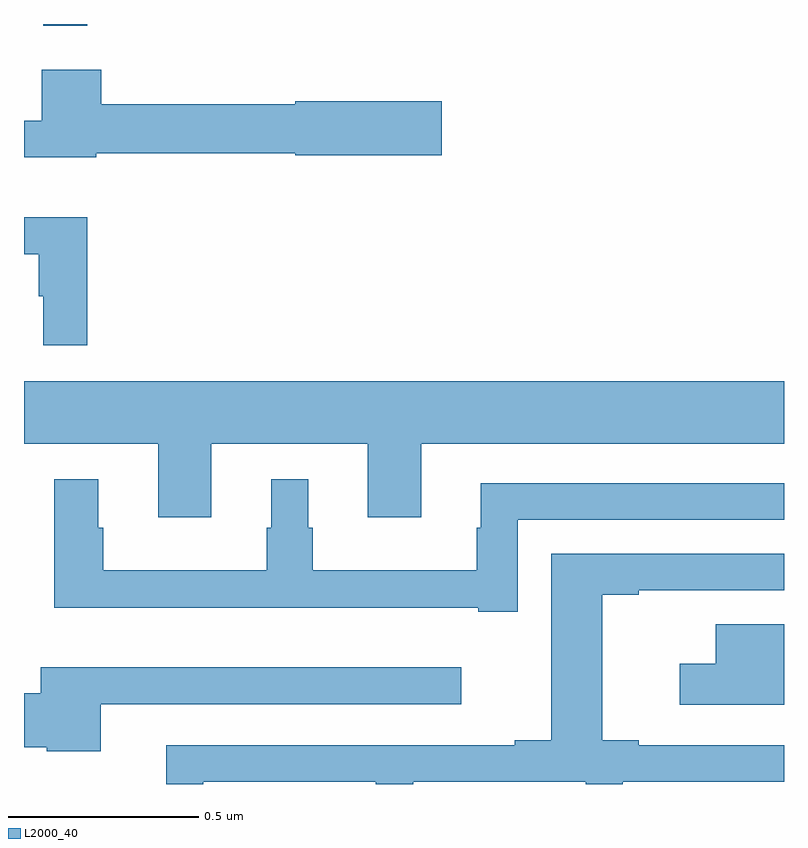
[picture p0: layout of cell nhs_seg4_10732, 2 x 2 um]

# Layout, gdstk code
import gdstk
lib = gdstk.Library(unit=1e-6, precision=1e-09)
def R(c, l, rs):  # rectangles x0, y0, x1, y1
    for r in rs: c.add(gdstk.rectangle(r[:2], r[2:], *l))
def P(c, l, *ps):  # polygons
    for p in ps: c.add(gdstk.Polygon(p, *l))
L2000_40 = (2000, 40)

nhs_seg4_10732 = lib.new_cell('nhs_seg4_10732')
R(nhs_seg4_10732, L2000_40, [(243.05,821.895,243.167,821.9)])
P(nhs_seg4_10732, L2000_40, [(243.19,821.56),(243.714,821.56),(243.714,821.555),(244.099,821.555),(244.099,821.697),(243.714,821.697),(243.714,821.689),(243.203,821.689),(243.203,821.779),(243.047,821.779),(243.047,821.646),(243,821.646),(243,821.549),(243.19,821.549)],
  [(243.167,821.392),(243,821.392),(243,821.294),(243.039,821.294),(243.039,821.183),(243.05,821.183),(243.05,821.055),(243.167,821.055)],
  [(243.493,820.796),(243.905,820.796),(243.905,820.602),(244.045,820.602),(244.045,820.796),(245,820.796),(245,820.96),(243,820.96),(243,820.796),(243.353,820.796),(243.353,820.602),(243.493,820.602)],
  [(244.299,820.596),(245,820.596),(245,820.692),(244.202,820.692),(244.202,820.574),(244.191,820.574),(244.191,820.462),(243.76,820.462),(243.76,820.574),(243.748,820.574),(243.748,820.702),(243.65,820.702),(243.65,820.574),(243.639,820.574),(243.639,820.462),(243.208,820.462),(243.208,820.574),(243.196,820.574),(243.196,820.702),(243.079,820.702),(243.079,820.364),(244.196,820.364),(244.196,820.353),(244.299,820.353)],
  [(243.472,819.906),(243.926,819.906),(243.926,819.9),(244.024,819.9),(244.024,819.906),(244.478,819.906),(244.478,819.9),(244.576,819.9),(244.576,819.906),(245,819.906),(245,820.002),(244.618,820.002),(244.618,820.015),(244.522,820.015),(244.522,820.398),(244.618,820.398),(244.618,820.41),(245,820.41),(245,820.506),(244.388,820.506),(244.388,820.015),(244.292,820.015),(244.292,820.002),(243.374,820.002),(243.374,819.9),(243.472,819.9)],
  [(245,820.321),(244.82,820.321),(244.82,820.216),(244.725,820.216),(244.725,820.109),(245,820.109)],
  [(243.202,820.11),(244.15,820.11),(244.15,820.207),(243.044,820.207),(243.044,820.139),(243,820.139),(243,819.997),(243.06,819.997),(243.06,819.986),(243.202,819.986)])

lib.write_gds('nhs_seg4_10732.gds')
